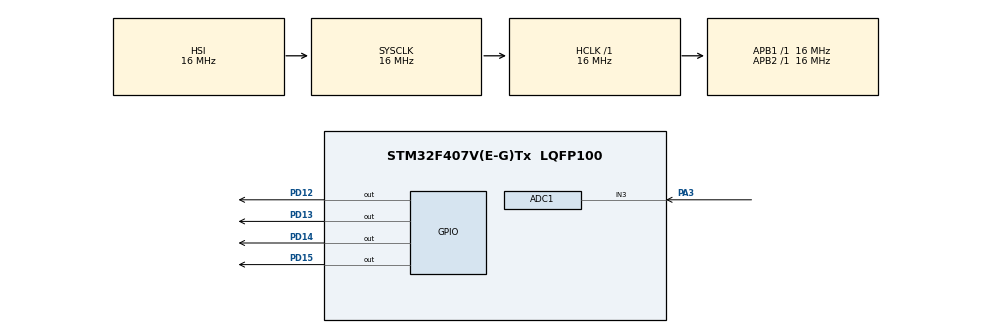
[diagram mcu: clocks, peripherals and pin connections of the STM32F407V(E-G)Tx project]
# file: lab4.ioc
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ADC1.Channel-0\#ChannelRegularConversion=ADC_CHANNEL_3
ADC1.ClockPrescaler=ADC_CLOCK_SYNC_PCLK_DIV8
ADC1.NbrOfConversionFlag=1
ADC1.Rank-0\#ChannelRegularConversion=1
ADC1.SamplingTime-0\#ChannelRegularConversion=ADC_SAMPLETIME_480CYCLES
ADC1.master=1
Mcu.Family=STM32F4
Mcu.Name=STM32F407V(E-G)Tx
Mcu.Package=LQFP100
NVIC.PriorityGroup=NVIC_PRIORITYGROUP_4
PA3.Signal=ADCx_IN3
PD12.Signal=GPIO_Output
PD13.Signal=GPIO_Output
PD14.Signal=GPIO_Output
PD15.Signal=GPIO_Output
ProjectManager.HeapSize=0x200
ProjectManager.StackSize=0x400
ProjectManager.TargetToolchain=STM32CubeIDE
RCC.AHBFreq_Value=16000000
RCC.APB1Freq_Value=16000000
RCC.APB2Freq_Value=16000000
RCC.CortexFreq_Value=16000000
RCC.HSE_VALUE=25000000
RCC.HSI_VALUE=16000000
RCC.LSE_VALUE=32768
RCC.SYSCLKFreq_VALUE=16000000
RCC.VCOOutputFreq_Value=192000000
SH.ADCx_IN3.0=ADC1_IN3,IN3
board=custom

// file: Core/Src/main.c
/* USER CODE BEGIN Header */
/**
  ******************************************************************************
  * @file           : main.c
  * @brief          : Main program body
  ******************************************************************************
  * @attention
  *
  * Copyright (c) 2023 STMicroelectronics.
  * All rights reserved.
  *
  * This software is licensed under terms that can be found in the LICENSE file
  * in the root directory of this software component.
  * If no LICENSE file comes with this software, it is provided AS-IS.
  *
  ******************************************************************************
  */
/* USER CODE END Header */
#include "main.h"

ADC_HandleTypeDef hadc1;

void SystemClock_Config(void);
static void MX_GPIO_Init(void);
static void MX_ADC1_Init(void);

int main(void)
{

  /* MCU Configuration--------------------------------------------------------*/

  /* Reset of all peripherals, Initializes the Flash interface and the Systick. */
  HAL_Init();

  /* Configure the system clock */
  SystemClock_Config();

  /* Initialize all configured peripherals */
  MX_GPIO_Init();
  MX_ADC1_Init();
  /* USER CODE BEGIN 2 */

  uint32_t adcValue = 0;
  volatile HAL_StatusTypeDef adcPoolResult;
  /* USER CODE END 2 */

  /* Infinite loop */
  /* USER CODE BEGIN WHILE */
  while (1)
  {
	  HAL_ADC_Start(&hadc1);
	  adcPoolResult = HAL_ADC_PollForConversion(&hadc1, 10);

	  if (adcPoolResult == HAL_OK) {
		  adcValue = HAL_ADC_GetValue(&hadc1);
	  }
	  else
		  continue;

	  uint8_t percentage = (adcValue * 100) / 4095;
	  if (percentage < 20) {
	         // 0%...20%: All LEDs OFF
	         HAL_GPIO_WritePin(GPIOD, GPIO_PIN_12, GPIO_PIN_RESET); // GREEN
	         HAL_GPIO_WritePin(GPIOD, GPIO_PIN_13, GPIO_PIN_RESET); // ORANGE
	         HAL_GPIO_WritePin(GPIOD, GPIO_PIN_14, GPIO_PIN_RESET); // RED
	         HAL_GPIO_WritePin(GPIOD, GPIO_PIN_15, GPIO_PIN_RESET); // BLUE
	     } else if (percentage >= 20 && percentage < 40) {
	         // 20%...40%: GREEN ON, others OFF
	         HAL_GPIO_WritePin(GPIOD, GPIO_PIN_12, GPIO_PIN_SET);   // GREEN
	         HAL_GPIO_WritePin(GPIOD, GPIO_PIN_13, GPIO_PIN_RESET); // ORANGE
	         HAL_GPIO_WritePin(GPIOD, GPIO_PIN_14, GPIO_PIN_RESET); // RED
	         HAL_GPIO_WritePin(GPIOD, GPIO_PIN_15, GPIO_PIN_RESET); // BLUE
	     } else if (percentage >= 40 && percentage < 60) {
	         // 40%...60%: GREEN and ORANGE ON, others OFF
	         HAL_GPIO_WritePin(GPIOD, GPIO_PIN_12, GPIO_PIN_SET);   // GREEN
	         HAL_GPIO_WritePin(GPIOD, GPIO_PIN_13, GPIO_PIN_SET);   // ORANGE
	         HAL_GPIO_WritePin(GPIOD, GPIO_PIN_14, GPIO_PIN_RESET); // RED
	         HAL_GPIO_WritePin(GPIOD, GPIO_PIN_15, GPIO_PIN_RESET); // BLUE
	     } else if (percentage >= 60 && percentage < 80) {
	         // 60%...80%: GREEN, ORANGE, and RED ON, BLUE OFF
	         HAL_GPIO_WritePin(GPIOD, GPIO_PIN_12, GPIO_PIN_SET);   // GREEN
	         HAL_GPIO_WritePin(GPIOD, GPIO_PIN_13, GPIO_PIN_SET);   // ORANGE
	         HAL_GPIO_WritePin(GPIOD, GPIO_PIN_14, GPIO_PIN_SET);   // RED
	         HAL_GPIO_WritePin(GPIOD, GPIO_PIN_15, GPIO_PIN_RESET); // BLUE
	     } else {
	         // 80%...100%: GREEN, ORANGE, and BLUE ON, RED OFF
	         HAL_GPIO_WritePin(GPIOD, GPIO_PIN_12, GPIO_PIN_SET);   // GREEN
	         HAL_GPIO_WritePin(GPIOD, GPIO_PIN_13, GPIO_PIN_SET);   // ORANGE
	         HAL_GPIO_WritePin(GPIOD, GPIO_PIN_14, GPIO_PIN_RESET); // RED
	         HAL_GPIO_WritePin(GPIOD, GPIO_PIN_15, GPIO_PIN_SET);   // BLUE
	     }

    /* USER CODE END WHILE */

  }
}

void SystemClock_Config(void)
{
  RCC_OscInitTypeDef RCC_OscInitStruct = {0};
  RCC_ClkInitTypeDef RCC_ClkInitStruct = {0};

  /** Configure the main internal regulator output voltage
  */
  __HAL_RCC_PWR_CLK_ENABLE();
  __HAL_PWR_VOLTAGESCALING_CONFIG(PWR_REGULATOR_VOLTAGE_SCALE1);

  /** Initializes the RCC Oscillators according to the specified parameters
  * in the RCC_OscInitTypeDef structure.
  */
  RCC_OscInitStruct.OscillatorType = RCC_OSCILLATORTYPE_HSI;
  RCC_OscInitStruct.HSIState = RCC_HSI_ON;
  RCC_OscInitStruct.HSICalibrationValue = RCC_HSICALIBRATION_DEFAULT;
  RCC_OscInitStruct.PLL.PLLState = RCC_PLL_NONE;
  if (HAL_RCC_OscConfig(&RCC_OscInitStruct) != HAL_OK)
  {
    Error_Handler();
  }

  /** Initializes the CPU, AHB and APB buses clocks
  */
  RCC_ClkInitStruct.ClockType = RCC_CLOCKTYPE_HCLK|RCC_CLOCKTYPE_SYSCLK
                              |RCC_CLOCKTYPE_PCLK1|RCC_CLOCKTYPE_PCLK2;
  RCC_ClkInitStruct.SYSCLKSource = RCC_SYSCLKSOURCE_HSI;
  RCC_ClkInitStruct.AHBCLKDivider = RCC_SYSCLK_DIV1;
  RCC_ClkInitStruct.APB1CLKDivider = RCC_HCLK_DIV1;
  RCC_ClkInitStruct.APB2CLKDivider = RCC_HCLK_DIV1;

  if (HAL_RCC_ClockConfig(&RCC_ClkInitStruct, FLASH_LATENCY_0) != HAL_OK)
  {
    Error_Handler();
  }
}

static void MX_ADC1_Init(void)
{

  ADC_ChannelConfTypeDef sConfig = {0};

  /** Configure the global features of the ADC (Clock, Resolution, Data Alignment and number of conversion)
  */
  hadc1.Instance = ADC1;
  hadc1.Init.ClockPrescaler = ADC_CLOCK_SYNC_PCLK_DIV8;
  hadc1.Init.Resolution = ADC_RESOLUTION_12B;
  hadc1.Init.ScanConvMode = DISABLE;
  hadc1.Init.ContinuousConvMode = DISABLE;
  hadc1.Init.DiscontinuousConvMode = DISABLE;
  hadc1.Init.ExternalTrigConvEdge = ADC_EXTERNALTRIGCONVEDGE_NONE;
  hadc1.Init.ExternalTrigConv = ADC_SOFTWARE_START;
  hadc1.Init.DataAlign = ADC_DATAALIGN_RIGHT;
  hadc1.Init.NbrOfConversion = 1;
  hadc1.Init.DMAContinuousRequests = DISABLE;
  hadc1.Init.EOCSelection = ADC_EOC_SINGLE_CONV;
  if (HAL_ADC_Init(&hadc1) != HAL_OK)
  {
    Error_Handler();
  }

  /** Configure for the selected ADC regular channel its corresponding rank in the sequencer and its sample time.
  */
  sConfig.Channel = ADC_CHANNEL_3;
  sConfig.Rank = 1;
  sConfig.SamplingTime = ADC_SAMPLETIME_480CYCLES;
  if (HAL_ADC_ConfigChannel(&hadc1, &sConfig) != HAL_OK)
  {
    Error_Handler();
  }

}

static void MX_GPIO_Init(void)
{
  GPIO_InitTypeDef GPIO_InitStruct = {0};

  /* GPIO Ports Clock Enable */
  __HAL_RCC_GPIOA_CLK_ENABLE();
  __HAL_RCC_GPIOD_CLK_ENABLE();

  /*Configure GPIO pin Output Level */
  HAL_GPIO_WritePin(GPIOD, GPIO_PIN_12|GPIO_PIN_13|GPIO_PIN_14|GPIO_PIN_15, GPIO_PIN_RESET);

  /*Configure GPIO pins : PD12 PD13 PD14 PD15 */
  GPIO_InitStruct.Pin = GPIO_PIN_12|GPIO_PIN_13|GPIO_PIN_14|GPIO_PIN_15;
  GPIO_InitStruct.Mode = GPIO_MODE_OUTPUT_PP;
  GPIO_InitStruct.Pull = GPIO_NOPULL;
  GPIO_InitStruct.Speed = GPIO_SPEED_FREQ_LOW;
  HAL_GPIO_Init(GPIOD, &GPIO_InitStruct);

}

void Error_Handler(void)
{
  __disable_irq();
  while (1)
  {
  }
}
